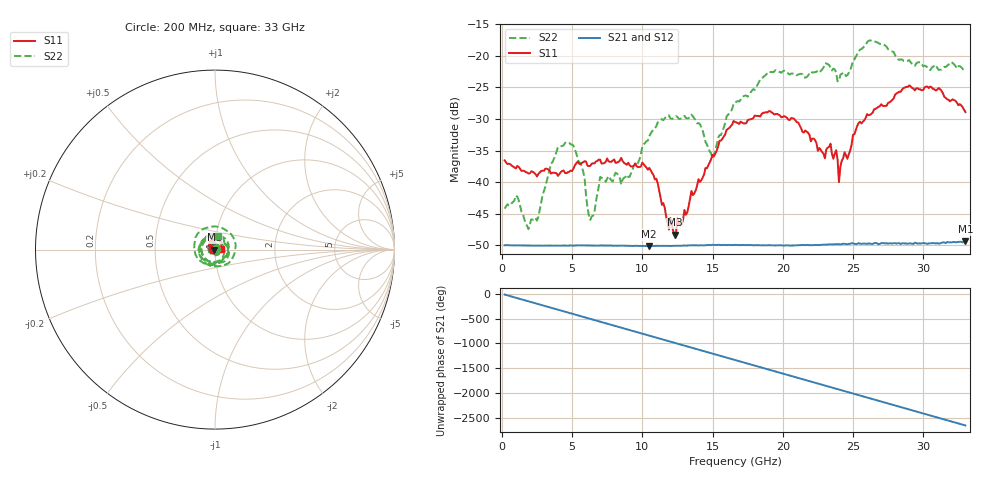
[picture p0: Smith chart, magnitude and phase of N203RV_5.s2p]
# GHZ S RI R 50
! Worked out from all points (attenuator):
!   329 points, 200 MHz to 33 GHz, reference 50 ohm
!   highest |S21| = -49.37 dB at 33 GHz (marker M1); lowest = -50.1 dB at 10.5 GHz (marker M2)
!   lowest |S11| = -48.3 dB at 12.3 GHz (marker M3), VSWR 1.01, Z = 49.6 + j0.0373 ohm
!   |S11| at or under -10 dB: start of sweep to end of sweep
!   |S22| runs from -47.4 to -17.6 dB; largest |S21 - S12| = 7.2e-05
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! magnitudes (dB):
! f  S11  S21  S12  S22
! 200 MHz  -36.5  -50.0  -50.0  -44.2
! 1 GHz  -37.8  -50.0  -50.0  -42.1
! 1.9 GHz  -38.6  -50.0  -50.0  -47.4
! 4 GHz  -39.0  -50.0  -50.0  -34.4
! 5.7 GHz  -36.9  -50.0  -50.0  -37.5
! 6.3 GHz  -37.4  -50.0  -50.0  -46.0
! 7 GHz  -36.4  -50.0  -50.0  -39.2
! 8.5 GHz  -36.2  -50.0  -50.0  -40.4
! 10.5 GHz  -37.7  -50.1  -50.1  -32.7
! 11.2 GHz  -41.3  -50.1  -50.1  -30.3
! 12.3 GHz  -48.3  -50.1  -50.1  -29.8
! 13.5 GHz  -41.4  -50.0  -50.0  -29.3
! 15 GHz  -35.7  -49.9  -49.9  -36.2
! 16.6 GHz  -30.5  -49.9  -49.9  -27.4
! 19.1 GHz  -28.8  -50.0  -50.0  -22.6
! 22.1 GHz  -33.1  -50.0  -49.9  -22.7
! 23.8 GHz  -34.9  -49.8  -49.8  -22.6
! 24 GHz  -40.0  -49.8  -49.8  -24.0
! 25.4 GHz  -30.6  -49.6  -49.7  -19.3
! 27.6 GHz  -27.4  -49.7  -49.7  -19.1
! 30.5 GHz  -24.9  -49.7  -49.7  -22.3
! 33 GHz  -28.9  -49.4  -49.4  -22.5
